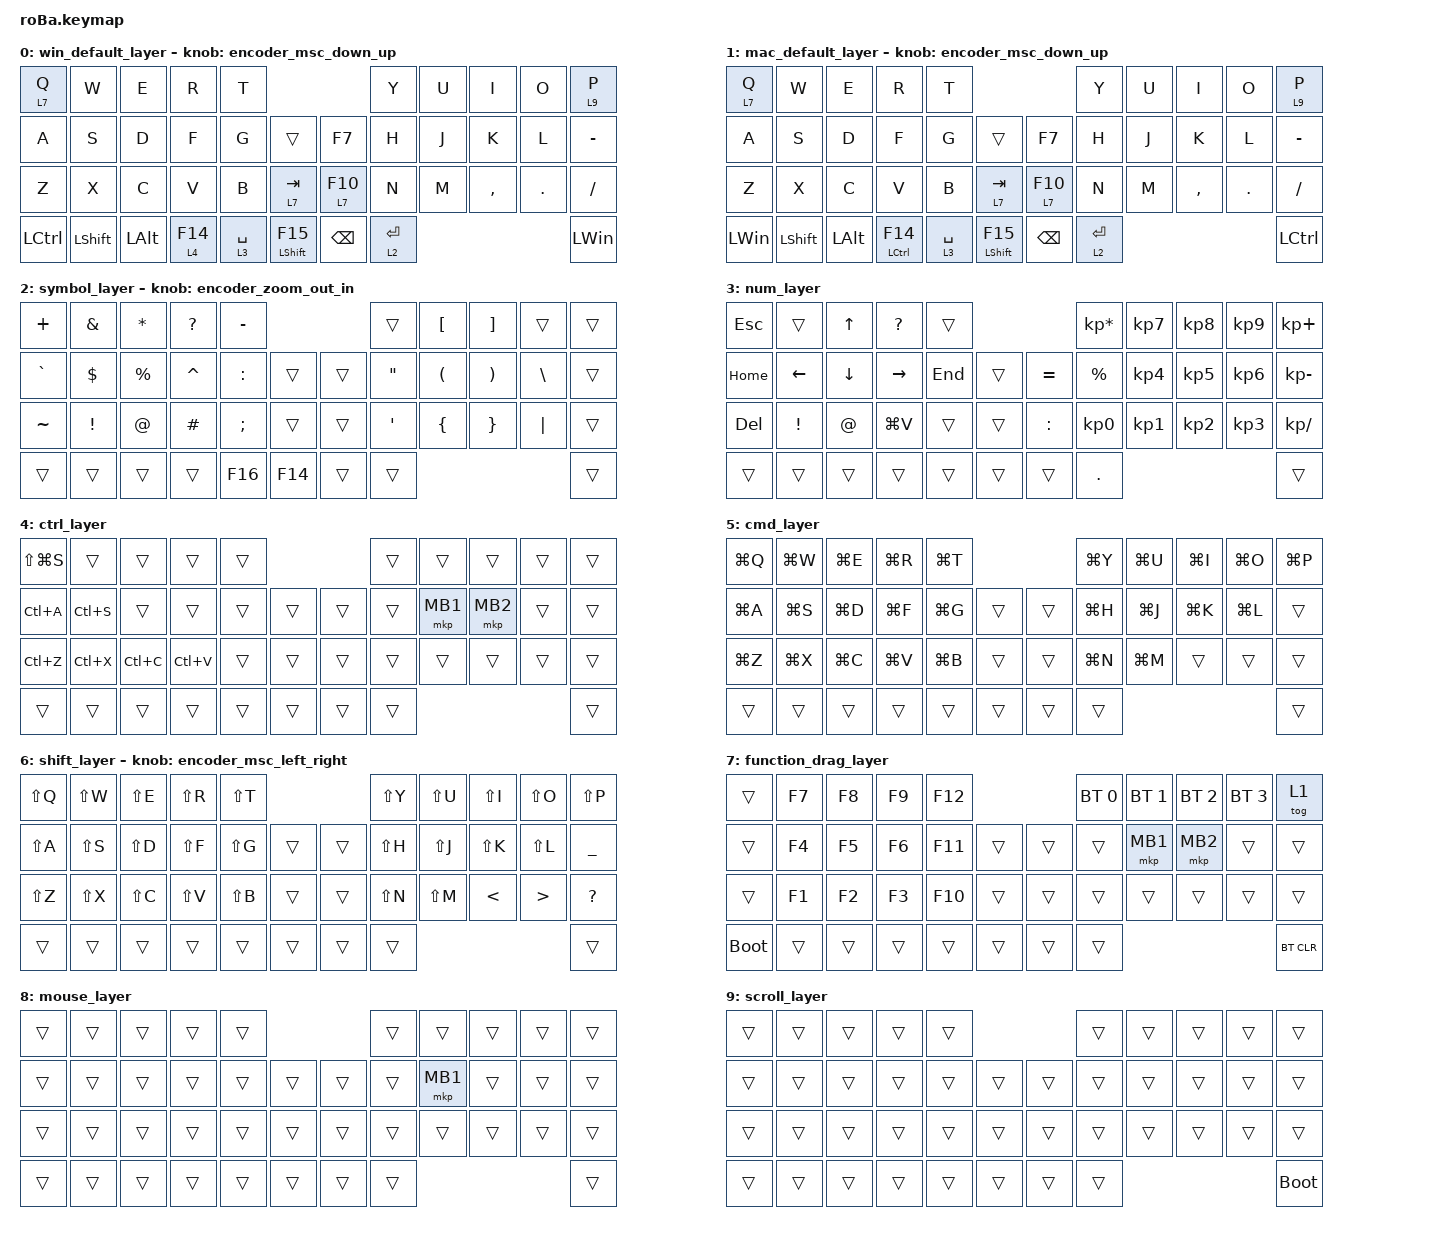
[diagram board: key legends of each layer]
#include <dt-bindings/zmk/input_transform.h>
#include <input/processors.dtsi>
#include <behaviors.dtsi>
#include <dt-bindings/zmk/bt.h>
#include <dt-bindings/zmk/keys.h>
#include <dt-bindings/zmk/pointing.h>

#define ZMK_POINTING_DEFAULT_SCRL_VAL 80

&mt {
    flavor = "balanced";
    quick-tap-ms = <0>;
};

&zip_temp_layer {
    excluded-positions = <
        18 // J
        34 // Ctrl
        35 // Shift
        36 // Alt
    >;
};

&zip_temp_layer { require-prior-idle-ms = <200>; };

&mkp_input_listener { input-processors = <&zip_temp_layer 8 250>; };

&trackball {
    scroll-layers = <9>;

    arrows {
        layers = <9>;
        bindings =
            <&kp RIGHT_ARROW>,
            <&kp LEFT_ARROW>,
            <&kp UP_ARROW>,
            <&kp DOWN_ARROW>;

        tick = <10>;
        wait-ms = <5>;
        tap-ms = <5>;
    };
};

&trackball_listener {
    compatible = "zmk,input-listener";
    device = <&trackball>;
    input-processors = <&zip_xy_scaler 7 4>, <&zip_temp_layer 8 60000>;

    drag_precision {
        layers = <4 5 7>;
        input-processors = <&zip_xy_scaler 1 3>;
    };
};

/ {
    combos {
        compatible = "zmk,combos";

        right_click {
            bindings = <&mkp MB2>;
            key-positions = <18 19>;
        };

        mouse_prev {
            bindings = <&mkp MB4>;
            key-positions = <19 20>;
        };

        mouse_next {
            bindings = <&mkp MB5>;
            key-positions = <32 31>;
        };
    };

    macros {
        to_layer_0: to_layer_0 {
            compatible = "zmk,behavior-macro-one-param";
            #binding-cells = <1>;
            bindings = <&to 0 &macro_param_1to1 &kp MACRO_PLACEHOLDER>;
            label = "TO_LAYER_0";
        };
    };

    behaviors {
        lt_to_layer_0: lt_to_layer_0 {
            compatible = "zmk,behavior-hold-tap";
            label = "LAYER_TAP_TO_0";
            bindings = <&mo>, <&to_layer_0>;

            #binding-cells = <2>;
            tapping-term-ms = <200>;
        };

        encoder_msc_down_up: encoder_msc_down_up {
            compatible = "zmk,behavior-sensor-rotate";
            label = "ENCODER_MSC_DOWN_UP";
            #sensor-binding-cells = <0>;
            bindings = <&msc SCRL_DOWN>, <&msc SCRL_UP>;

            tap-ms = <20>;
        };

        encoder_msc_left_right: encoder_msc_left_right {
            compatible = "zmk,behavior-sensor-rotate";
            label = "ENCODER_MSC_LEFT_RIGHT";
            #sensor-binding-cells = <0>;
            bindings = <&msc SCRL_LEFT>, <&msc SCRL_RIGHT>;

            tap-ms = <20>;
        };

        encoder_zoom_out_in: encoder_zoom_out_in {
            compatible = "zmk,behavior-sensor-rotate";
            label = "ENCODER_ZOOM_OUT_IN";
            #sensor-binding-cells = <0>;
            bindings = <&kp LC(MINUS)>, <&kp LC(PLUS)>;

            tap-ms = <20>;
        };

        tog_on: toggle_layer_on_only {
            compatible = "zmk,behavior-toggle-layer";
            #binding-cells = <1>;
            display-name = "Toggle Layer On";
            toggle-mode = "on";
        };

        tog_off: toggle_layer_off_only {
            compatible = "zmk,behavior-toggle-layer";
            #binding-cells = <1>;
            display-name = "Toggle Layer Off";
            toggle-mode = "off";
        };
    };

    keymap {
        compatible = "zmk,keymap";

        win_default_layer {
            bindings = <
&lt 7 Q           &kp W           &kp E         &kp R      &kp T                                               &kp Y        &kp U  &kp I      &kp O    &lt 9 P
&kp A             &kp S           &kp D         &kp F      &kp G        &trans                  &kp F7         &kp H        &kp J  &kp K      &kp L    &kp MINUS
&kp Z             &kp X           &kp C         &kp V      &kp B        &lt 7 TAB               &lt 7 F10      &kp N        &kp M  &kp COMMA  &kp DOT  &kp SLASH
&kp LEFT_CONTROL  &kp LEFT_SHIFT  &kp LEFT_ALT  &lt 4 F14  &lt 3 SPACE  &mt LEFT_SHIFT F15      &kp BACKSPACE  &lt 2 ENTER                             &kp LEFT_WIN
            >;

            sensor-bindings = <&encoder_msc_down_up>;
        };

        mac_default_layer {
            bindings = <
&lt 7 Q       &kp W           &kp E         &kp R                 &kp T                                               &kp Y        &kp U  &kp I      &kp O    &lt 9 P
&kp A         &kp S           &kp D         &kp F                 &kp G        &trans                  &kp F7         &kp H        &kp J  &kp K      &kp L    &kp MINUS
&kp Z         &kp X           &kp C         &kp V                 &kp B        &lt 7 TAB               &lt 7 F10      &kp N        &kp M  &kp COMMA  &kp DOT  &kp SLASH
&kp LEFT_WIN  &kp LEFT_SHIFT  &kp LEFT_ALT  &mt LEFT_CONTROL F14  &lt 3 SPACE  &mt LEFT_SHIFT F15      &kp BACKSPACE  &lt 2 ENTER                             &kp LEFT_CONTROL
            >;

            sensor-bindings = <&encoder_msc_down_up>;
        };

        symbol_layer {
            bindings = <
&kp PLUS   &kp AMPERSAND    &kp ASTERISK  &kp QUESTION  &kp MINUS                           &trans             &kp LEFT_BRACKET      &kp RIGHT_BRACKET      &trans         &trans
&kp GRAVE  &kp DOLLAR       &kp PERCENT   &kp CARET     &kp COLON      &trans       &trans  &kp DOUBLE_QUOTES  &kp LEFT_PARENTHESIS  &kp RIGHT_PARENTHESIS  &kp BACKSLASH  &trans
&kp TILDE  &kp EXCLAMATION  &kp AT_SIGN   &kp HASH      &kp SEMICOLON  &trans       &trans  &kp SQT            &kp LEFT_BRACE        &kp RIGHT_BRACE        &kp PIPE       &trans
&trans     &trans           &trans        &trans        &kp F16        &kp F14      &trans  &trans                                                                         &trans
            >;

            sensor-bindings = <&encoder_zoom_out_in>;
        };

        num_layer {
            bindings = <
&kp ESCAPE  &trans           &kp UP_ARROW  &kp QUESTION  &trans                          &kp KP_ASTERISK  &kp KP_NUMBER_7  &kp KP_NUMBER_8  &kp KP_NUMBER_9  &kp KP_PLUS
&kp HOME    &kp LEFT         &kp DOWN      &kp RIGHT     &kp END  &trans      &kp EQUAL  &kp PERCENT      &kp KP_NUMBER_4  &kp KP_NUMBER_5  &kp KP_NUMBER_6  &kp KP_MINUS
&kp DELETE  &kp EXCLAMATION  &kp AT_SIGN   &kp LG(V)     &trans   &trans      &kp COLON  &kp KP_NUMBER_0  &kp KP_NUMBER_1  &kp KP_NUMBER_2  &kp KP_NUMBER_3  &kp KP_SLASH
&trans      &trans           &trans        &trans        &trans   &trans      &trans     &kp PERIOD                                                          &trans
            >;
        };

        ctrl_layer {
            bindings = <
&kp LS(LG(S))  &trans     &trans     &trans     &trans                      &trans  &trans    &trans    &trans  &trans
&kp LC(A)      &kp LC(S)  &trans     &trans     &trans  &trans      &trans  &trans  &mkp MB1  &mkp MB2  &trans  &trans
&kp LC(Z)      &kp LC(X)  &kp LC(C)  &kp LC(V)  &trans  &trans      &trans  &trans  &trans    &trans    &trans  &trans
&trans         &trans     &trans     &trans     &trans  &trans      &trans  &trans                              &trans
            >;
        };

        cmd_layer {
            bindings = <
&kp LG(Q)  &kp LG(W)  &kp LG(E)  &kp LG(R)  &kp LG(T)                      &kp LG(Y)  &kp LG(U)  &kp LG(I)  &kp LG(O)  &kp LG(P)
&kp LG(A)  &kp LG(S)  &kp LG(D)  &kp LG(F)  &kp LG(G)  &trans      &trans  &kp LG(H)  &kp LG(J)  &kp LG(K)  &kp LG(L)  &trans
&kp LG(Z)  &kp LG(X)  &kp LG(C)  &kp LG(V)  &kp LG(B)  &trans      &trans  &kp LG(N)  &kp LG(M)  &trans     &trans     &trans
&trans     &trans     &trans     &trans     &trans     &trans      &trans  &trans                                      &trans
            >;
        };

        shift_layer {
            bindings = <
&kp LS(Q)  &kp LS(W)  &kp LS(E)  &kp LS(R)  &kp LS(T)                      &kp LS(Y)  &kp LS(U)  &kp LS(I)      &kp LS(O)         &kp LS(P)
&kp LS(A)  &kp LS(S)  &kp LS(D)  &kp LS(F)  &kp LS(G)  &trans      &trans  &kp LS(H)  &kp LS(J)  &kp LS(K)      &kp LS(L)         &kp UNDERSCORE
&kp LS(Z)  &kp LS(X)  &kp LS(C)  &kp LS(V)  &kp LS(B)  &trans      &trans  &kp LS(N)  &kp LS(M)  &kp LESS_THAN  &kp GREATER_THAN  &kp QUESTION
&trans     &trans     &trans     &trans     &trans     &trans      &trans  &trans                                                 &trans
            >;

            sensor-bindings = <&encoder_msc_left_right>;
        };

        function_drag_layer {
            bindings = <
&trans       &kp F7  &kp F8  &kp F9  &kp F12                      &bt BT_SEL 0  &bt BT_SEL 1  &bt BT_SEL 2  &bt BT_SEL 3  &tog 1
&trans       &kp F4  &kp F5  &kp F6  &kp F11  &trans      &trans  &trans        &mkp MB1      &mkp MB2      &trans        &trans
&trans       &kp F1  &kp F2  &kp F3  &kp F10  &trans      &trans  &trans        &trans        &trans        &trans        &trans
&bootloader  &trans  &trans  &trans  &trans   &trans      &trans  &trans                                                  &bt BT_CLR
            >;
        };

        mouse_layer {
            bindings = <
&trans  &trans  &trans  &trans  &trans                      &trans  &trans    &trans  &trans  &trans
&trans  &trans  &trans  &trans  &trans  &trans      &trans  &trans  &mkp MB1  &trans  &trans  &trans
&trans  &trans  &trans  &trans  &trans  &trans      &trans  &trans  &trans    &trans  &trans  &trans
&trans  &trans  &trans  &trans  &trans  &trans      &trans  &trans                            &trans
            >;
        };

        scroll_layer {
            bindings = <
&trans  &trans  &trans  &trans  &trans                      &trans  &trans  &trans  &trans  &trans
&trans  &trans  &trans  &trans  &trans  &trans      &trans  &trans  &trans  &trans  &trans  &trans
&trans  &trans  &trans  &trans  &trans  &trans      &trans  &trans  &trans  &trans  &trans  &trans
&trans  &trans  &trans  &trans  &trans  &trans      &trans  &trans                          &bootloader
            >;
        };
    };
};
